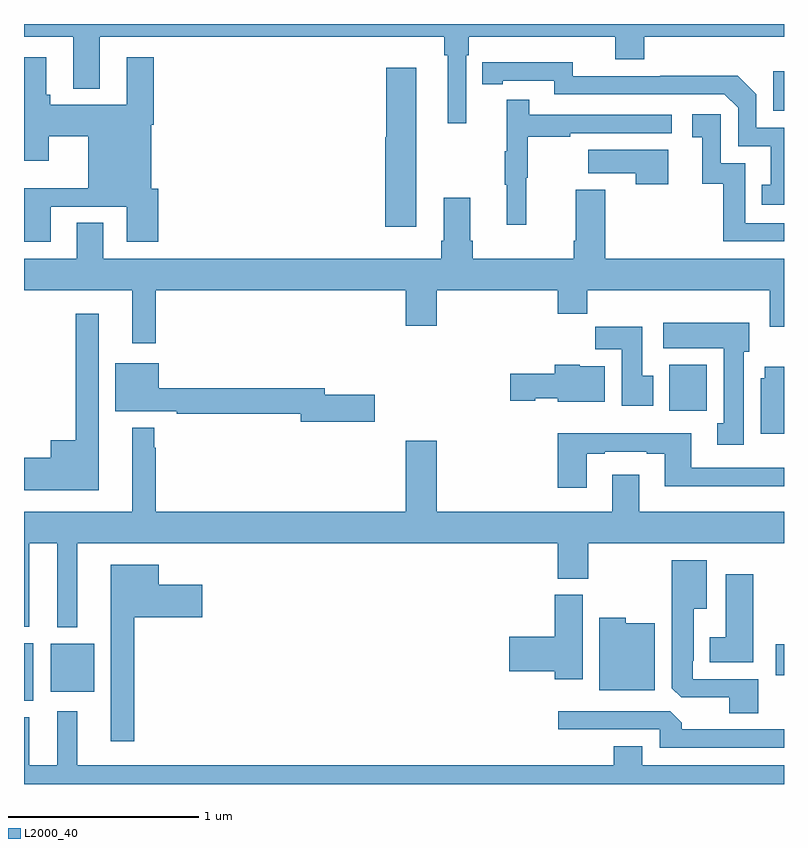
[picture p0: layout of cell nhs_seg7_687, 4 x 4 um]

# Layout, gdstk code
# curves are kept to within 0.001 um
import gdstk
lib = gdstk.Library(unit=1e-6, precision=1e-09)
def R(c, l, rs):  # rectangles x0, y0, x1, y1
    for r in rs: c.add(gdstk.rectangle(r[:2], r[2:], *l))
def P(c, l, *ps):  # polygons
    for p in ps: c.add(gdstk.Polygon(p, *l))
L2000_40 = (2000, 40)

nhs_seg7_687 = lib.new_cell('nhs_seg7_687')
R(nhs_seg7_687, L2000_40, [(163,1014.437,163.048,1014.742), (163.142,1014.485,163.369,1014.739), (166.956,1014.572,167,1014.735), (166.397,1015.964,166.594,1016.206), (166.944,1017.543,167,1017.751)])
P(nhs_seg7_687, L2000_40, [(165.327,1017.836),(165.341,1017.836),(165.341,1017.932),(166.112,1017.932),(166.112,1017.815),(166.265,1017.815),(166.265,1017.932),(167,1017.932),(167,1018),(163,1018),(163,1017.932),(163.259,1017.932),(163.259,1017.659),(163.399,1017.659),(163.399,1017.932),(165.211,1017.932),(165.211,1017.836),(165.23,1017.836),(165.23,1017.477),(165.327,1017.477)],
  [(163.141,1017.039),(163.541,1017.039),(163.541,1016.853),(163.706,1016.853),(163.706,1017.132),(163.669,1017.132),(163.669,1017.47),(163.682,1017.47),(163.682,1017.826),(163.541,1017.826),(163.541,1017.574),(163.137,1017.574),(163.137,1017.627),(163.117,1017.627),(163.117,1017.826),(163,1017.826),(163,1017.279),(163.129,1017.279),(163.129,1017.41),(163.337,1017.41),(163.337,1017.136),(163,1017.136),(163,1017.039),(163.001,1017.039),(163.001,1016.853),(163.141,1016.853)],
  [(167,1017.453),(166.854,1017.453),(166.854,1017.63),(166.756,1017.728),(166.348,1017.728),(166.348,1017.726),(165.888,1017.726),(165.888,1017.799),(165.412,1017.798),(165.412,1017.682),(165.52,1017.682),(165.52,1017.702),(165.792,1017.702),(165.792,1017.63),(166.686,1017.63),(166.758,1017.558),(166.758,1017.357),(166.931,1017.357),(166.931,1017.153),(166.882,1017.153),(166.882,1017.048),(167,1017.048)],
  [(165.064,1017.769),(164.906,1017.769),(164.906,1017.405),(164.9,1017.405),(164.9,1016.934),(165.064,1016.934)],
  [(165.644,1017.192),(165.652,1017.192),(165.652,1017.406),(165.875,1017.406),(165.875,1017.426),(166.408,1017.426),(166.408,1017.522),(165.659,1017.522),(165.659,1017.601),(165.542,1017.601),(165.542,1017.329),(165.531,1017.329),(165.531,1017.155),(165.542,1017.155),(165.542,1016.943),(165.644,1016.943)],
  [(167,1016.952),(166.797,1016.952),(166.797,1017.267),(166.668,1017.267),(166.668,1017.526),(166.518,1017.526),(166.518,1017.405),(166.571,1017.405),(166.571,1017.159),(166.681,1017.159),(166.681,1016.856),(167,1016.856)],
  [(166.39,1017.337),(165.971,1017.337),(165.971,1017.215),(166.22,1017.215),(166.22,1017.156),(166.39,1017.156)],
  [(163.693,1016.6),(165.008,1016.6),(165.008,1016.412),(165.172,1016.412),(165.172,1016.6),(165.809,1016.6),(165.809,1016.476),(165.965,1016.476),(165.965,1016.6),(166.925,1016.6),(166.925,1016.406),(167,1016.406),(167,1016.764),(166.058,1016.764),(166.058,1017.127),(165.905,1017.127),(165.905,1016.86),(165.893,1016.86),(165.893,1016.764),(165.362,1016.764),(165.362,1016.86),(165.349,1016.86),(165.349,1017.085),(165.209,1017.085),(165.209,1016.86),(165.197,1016.86),(165.197,1016.764),(163.417,1016.764),(163.417,1016.954),(163.277,1016.954),(163.277,1016.764),(163,1016.764),(163,1016.6),(163.571,1016.6),(163.571,1016.319),(163.693,1016.319)],
  [(163.393,1016.476),(163.272,1016.476),(163.272,1015.81),(163.142,1015.81),(163.142,1015.718),(163,1015.718),(163,1015.547),(163.393,1015.547)],
  [(166.789,1016.274),(166.816,1016.274),(166.816,1016.428),(166.365,1016.428),(166.365,1016.294),(166.682,1016.294),(166.682,1015.898),(166.649,1015.898),(166.649,1015.785),(166.789,1015.785)],
  [(166.312,1016.148),(166.255,1016.148),(166.255,1016.407),(166.006,1016.407),(166.006,1016.288),(166.145,1016.288),(166.145,1015.992),(166.312,1015.992)],
  [(164.845,1016.048),(164.584,1016.048),(164.584,1016.084),(163.708,1016.084),(163.708,1016.215),(163.481,1016.215),(163.481,1015.961),(163.804,1015.961),(163.804,1015.948),(164.456,1015.948),(164.456,1015.906),(164.845,1015.906)],
  [(166.057,1016.2),(165.924,1016.2),(165.924,1016.206),(165.794,1016.206),(165.794,1016.16),(165.558,1016.16),(165.558,1016.018),(165.69,1016.018),(165.69,1016.03),(165.81,1016.03),(165.81,1016.012),(166.057,1016.012)],
  [(167,1016.197),(166.898,1016.197),(166.898,1016.136),(166.877,1016.136),(166.877,1015.844),(167,1015.844)],
  [(163.279,1015.268),(165.809,1015.268),(165.809,1015.081),(165.969,1015.081),(165.969,1015.268),(167,1015.268),(167,1015.432),(166.237,1015.432),(166.237,1015.627),(166.097,1015.627),(166.097,1015.432),(165.172,1015.432),(165.172,1015.807),(165.008,1015.807),(165.008,1015.432),(163.693,1015.432),(163.693,1015.769),(163.686,1015.769),(163.686,1015.876),(163.571,1015.876),(163.571,1015.432),(163,1015.432),(163,1014.827),(163.027,1014.827),(163.027,1015.268),(163.175,1015.268),(163.175,1014.824),(163.279,1014.824)],
  [(165.961,1015.737),(166.057,1015.737),(166.057,1015.749),(166.277,1015.749),(166.277,1015.737),(166.373,1015.737),(166.373,1015.568),(167,1015.568),(167,1015.665),(166.513,1015.665),(166.513,1015.846),(165.809,1015.846),(165.809,1015.56),(165.961,1015.56)],
  [(166.865,1014.552),(166.521,1014.552),(166.521,1014.649),(166.525,1014.649),(166.525,1014.923),(166.594,1014.923),(166.594,1015.177),(166.409,1015.177),(166.409,1014.505),(166.458,1014.456),(166.712,1014.456),(166.712,1014.373),(166.865,1014.373)],
  [(163.579,1014.878),(163.939,1014.878),(163.939,1015.048),(163.708,1015.048),(163.708,1015.153),(163.457,1015.153),(163.457,1014.225),(163.579,1014.225)],
  [(166.837,1015.105),(166.694,1015.105),(166.694,1014.772),(166.61,1014.772),(166.61,1014.641),(166.837,1014.641)],
  [(165.94,1014.996),(165.794,1014.996),(165.794,1014.776),(165.555,1014.776),(165.555,1014.593),(165.794,1014.593),(165.794,1014.552),(165.94,1014.552)],
  [(166.321,1014.847),(166.167,1014.847),(166.167,1014.874),(166.028,1014.874),(166.028,1014.494),(166.321,1014.494)],
  [(167,1014.288),(166.463,1014.288),(166.463,1014.322),(166.401,1014.384),(165.813,1014.384),(165.813,1014.288),(166.347,1014.288),(166.347,1014.192),(167,1014.192)],
  [(167,1014.1),(166.255,1014.1),(166.255,1014.199),(166.103,1014.199),(166.103,1014.1),(163.279,1014.1),(163.279,1014.382),(163.175,1014.382),(163.175,1014.1),(163.027,1014.1),(163.027,1014.352),(163,1014.352),(163,1014),(167,1014)])

lib.write_gds('nhs_seg7_687.gds')
